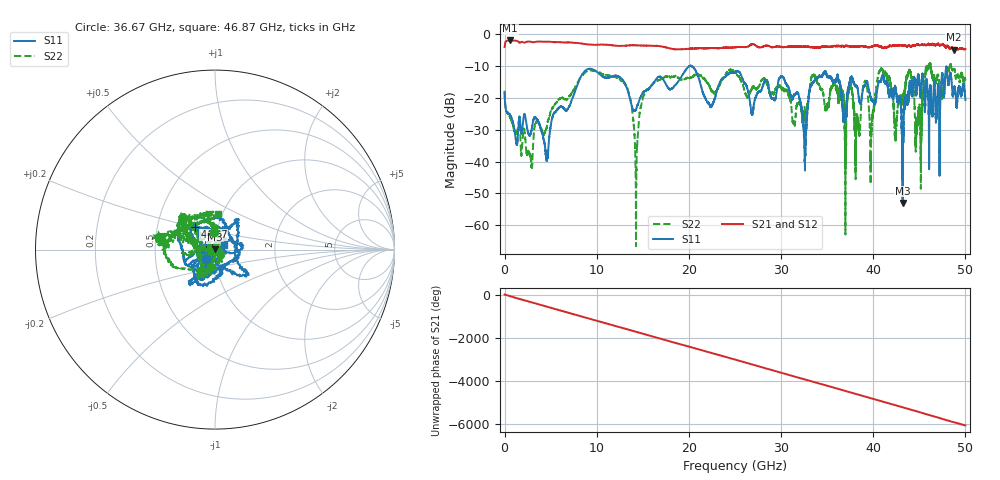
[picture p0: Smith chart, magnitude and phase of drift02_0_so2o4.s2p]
!Created with skrf (http://scikit-rf.org).
# Hz S RI R 50.0
!freq ReS11 ImS11 ReS21 ImS21 ReS12 ImS12 ReS22 ImS22
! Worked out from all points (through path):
!   10001 points, 300 kHz to 50 GHz, reference 50 ohm
!   highest |S21| = -2.00 dB at 605.3 MHz (marker M1); lowest = -4.9 dB at 48.76 GHz (marker M2)
!   group delay of S21, straight-line fit = 337 ps
!   lowest |S11| = -53.0 dB at 43.19 GHz (marker M3), VSWR 1.00, Z = 49.9 + j0.168 ohm
!   |S11| at or under -10 dB: start of sweep to 20.07 GHz; 20.08362 GHz to 20.08618 GHz (2.567 MHz wide, 0.0128 % of centre); 20.25 GHz to end of sweep (the widest 3 of 5)
!   |S22| runs from -66.6 to -9.0 dB; largest |S21 - S12| = 0.032
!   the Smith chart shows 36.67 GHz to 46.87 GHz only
!   S11 on the Smith chart (normalised r, x): 36.67 GHz: 0.90, -0.09; 44.07 GHz: 0.77, +0.20; 46.87 GHz: 1.11, +0.06
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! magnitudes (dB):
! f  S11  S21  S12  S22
! 300 kHz  -18.3  -4.0  -4.0  -17.8
! 605.3 MHz  -25.5  -2.0  -2.0  -26.2
! 4.565 GHz  -39.6  -2.4  -2.4  -29.3
! 8.335 GHz  -13.0  -3.0  -3.0  -13.3
! 13.06 GHz  -15.5  -3.7  -3.6  -15.7
! 14.28 GHz  -23.5  -3.5  -3.5  -46.9
! 16.67 GHz  -13.4  -3.7  -3.7  -14.4
! 25 GHz  -12.0  -4.1  -4.1  -12.0
! 30.16 GHz  -13.4  -4.1  -4.1  -17.2
! 32.56 GHz  -40.0  -3.9  -4.0  -24.9
! 33.34 GHz  -15.9  -4.0  -4.1  -13.3
! 36.67 GHz  -22.8  -3.7  -3.9  -20.2
! 38.28 GHz  -16.6  -3.9  -3.9  -25.6
! 39.13 GHz  -16.0  -3.9  -3.8  -14.7
! 39.8 GHz  -20.6  -4.0  -4.0  -30.8
! 41.67 GHz  -18.6  -3.8  -4.0  -13.1
! 43.19 GHz  -53.0  -3.7  -3.7  -20.8
! 44.07 GHz  -15.4  -3.9  -3.9  -12.4
! 44.76 GHz  -16.5  -3.3  -3.3  -27.2
! 46.87 GHz  -24.8  -3.3  -3.2  -13.9
! 48.76 GHz  -17.0  -4.9  -4.9  -11.0
! 50 GHz  -20.7  -4.7  -4.7  -14.4
